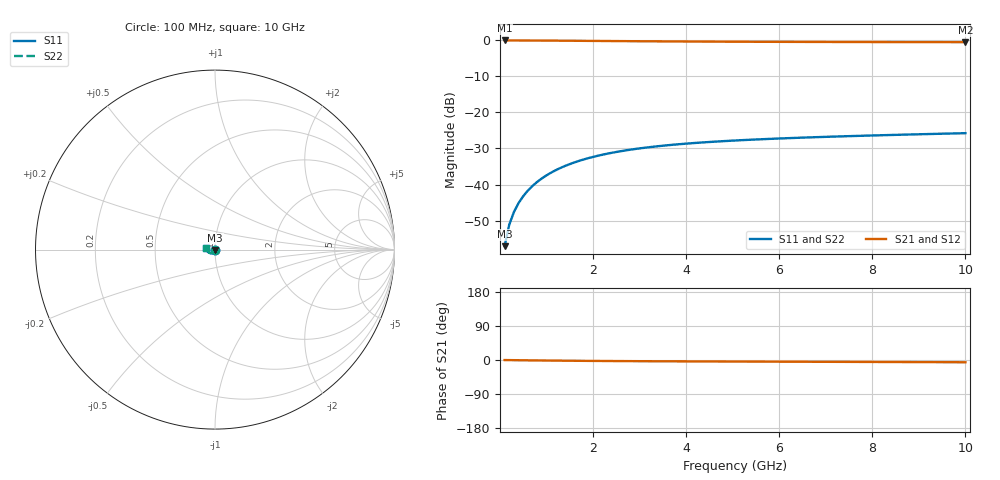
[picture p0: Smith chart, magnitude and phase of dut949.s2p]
! Touchstone file exported from HFSS 2024.1.0
!  File:  C:/UserFiles/LocalFiles/RDL_TSV_Batchsim/temp_TSV1_949_1779948803.aedt
!  Generated:  02:18:27 PM May 28, 2026
!  Design:  TSV1
!  Project:  temp_TSV1_949_1779948803
!  Setup:  Setup1
!  Solution:  Sweep
! Variables:
!  dtsv = 10.38um
!  hbump = 3um
!  htsv = 92.13um
!  lrdl = 252.1521522um
!  p = 40
!  p1 = 57.4um
!  t = 500um
!  trdl = 3um
!  wrdl = 24.89489489um
# GHz S MA R 50.000000
! Terminal data exported
! Port[1] = TSV22_T1
! Port[2] = TSV22_T2
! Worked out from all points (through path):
!   100 points, 100 MHz to 10 GHz, reference 50 ohm
!   highest |S21| = 0.00 dB at 100 MHz (marker M1); lowest = -0.5 dB at 10 GHz (marker M2)
!   lowest |S11| = -57.1 dB at 100 MHz (marker M3), VSWR 1.00, Z = 50 - j0.139 ohm
!   |S11| at or under -10 dB: start of sweep to end of sweep
!   |S22| runs from -57.1 to -25.7 dB; largest |S21 - S12| = 4.1e-15
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0.1  0.001393 -86.0  0.9998 -0.1  0.9998 -0.1  0.001393 -86.0
! Gamma 0 0 0 0
! Port Impedance 50 0 50 0
0.2  0.002773 -90.9  0.9996 -0.3  0.9996 -0.3  0.002773 -90.9
0.3  0.004153 -93.8  0.9994 -0.4  0.9994 -0.4  0.004153 -93.8
0.4  0.005527 -96.3  0.999 -0.6  0.999 -0.6  0.005527 -96.3
0.5  0.00689 -98.6  0.9986 -0.7  0.9986 -0.7  0.00689 -98.6
0.6  0.008237 -100.8  0.9981 -0.9  0.9981 -0.9  0.008237 -100.8
0.7  0.009565 -102.9  0.9974 -1.0  0.9974 -1.0  0.009565 -102.9
0.8  0.01087 -105.0  0.9968 -1.1  0.9968 -1.1  0.01087 -105.0
0.9  0.01215 -107.0  0.996 -1.3  0.996 -1.3  0.01215 -107.0
1.1  0.01463 -110.9  0.9944 -1.5  0.9944 -1.5  0.01463 -110.9
1.4  0.01811 -116.5  0.9915 -1.8  0.9915 -1.8  0.01811 -116.5
1.6  0.02026 -120.1  0.9895 -2.1  0.9895 -2.1  0.02026 -120.1
1.8  0.02227 -123.5  0.9874 -2.2  0.9874 -2.2  0.02227 -123.5
2.1  0.02504 -128.3  0.9842 -2.5  0.9842 -2.5  0.02504 -128.3
2.5  0.02829 -134.3  0.98 -2.8  0.98 -2.8  0.02829 -134.3
2.9  0.03108 -139.7  0.9761 -3.1  0.9761 -3.1  0.03108 -139.7
3.4  0.03402 -145.8  0.9716 -3.3  0.9716 -3.3  0.03402 -145.8
4.2  0.03776 -154.3  0.9656 -3.7  0.9656 -3.7  0.03776 -154.3
5.1  0.04097 -162.4  0.9603 -4.1  0.9603 -4.1  0.04097 -162.4
6.7  0.04521 -174.1  0.9538 -4.7  0.9538 -4.7  0.04521 -174.1
8.4  0.0487 175.9  0.9494 -5.3  0.9494 -5.3  0.0487 175.9
10  0.0516 168.0  0.9465 -5.9  0.9465 -5.9  0.0516 168.0
